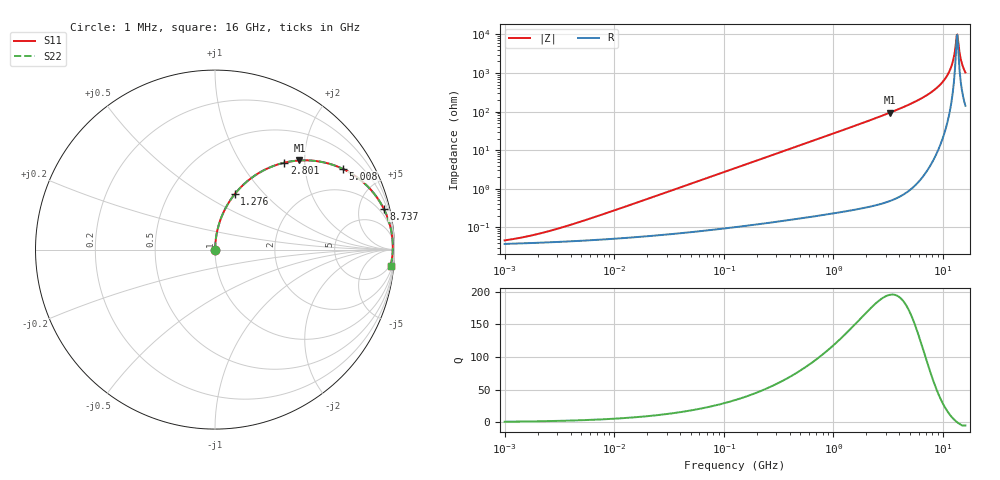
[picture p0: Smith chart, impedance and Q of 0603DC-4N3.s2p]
# MHz  S  MA  R  50
!Freq  MagS11  AngS11  MagS21  AngS21  MagS12  AngS12  MagS22  AngS22
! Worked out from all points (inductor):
!   801 points, 1 MHz to 16 GHz, reference 50 ohm
!   read as one part in series: L = 4.3 nH near 5 MHz
!   highest Q = 195 at 3.279 GHz (marker M1), where L = 4.57 nH
!   self-resonance near 13.34 GHz
!   S11 on the Smith chart (normalised r, x): 1 MHz: 1.00, +0.00; 1.276 GHz: 1.01, +0.70; 2.801 GHz: 1.01, +1.58; 5.008 GHz: 1.02, +3.14; 8.737 GHz: 1.16, +8.17; 16 GHz: 4, -20
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1  0.0004598 36.0  0.9996 -0.0  0.9996 -0.0  0.0004598 36.0
2.06685  0.0006864 54.4  0.9996 -0.0  0.9996 -0.0  0.0006864 54.4
5.060461  0.001439 71.7  0.9995 -0.1  0.9995 -0.1  0.001439 71.7
25.30026  0.00686 84.4  0.9994 -0.4  0.9994 -0.4  0.00686 84.4
128.031  0.03455 86.3  0.9984 -2.0  0.9984 -2.0  0.03455 86.3
640.1033  0.1705 79.6  0.9835 -9.8  0.9835 -9.8  0.1705 79.6
1275.832  0.3278 70.4  0.9423 -19.1  0.9423 -19.1  0.3278 70.4
1902.013  0.4633 62.1  0.8834 -27.6  0.8834 -27.6  0.4633 62.1
2801.421  0.6189 51.5  0.7822 -38.2  0.7822 -38.2  0.6189 51.5
3200.258  0.674 47.3  0.7353 -42.4  0.7353 -42.4  0.674 47.3
3278.652  0.6839 46.6  0.7261 -43.1  0.7261 -43.1  0.6839 46.6
5007.553  0.8413 32.4  0.5356 -57.3  0.5356 -57.3  0.8413 32.4
6858.979  0.9256 21.7  0.3695 -67.8  0.3695 -67.8  0.9256 21.7
8737.003  0.9669 13.7  0.2367 -75.2  0.2367 -75.2  0.9669 13.7
10225.38  0.9827 8.6  0.1501 -79.1  0.1501 -79.1  0.9827 8.6
11401.86  0.9888 5.2  0.09051 -80.3  0.09051 -80.3  0.9888 5.2
12112.99  0.9904 3.3  0.05767 -78.8  0.05767 -78.8  0.9904 3.3
13025.14  0.9908 1.0  0.01967 -61.7  0.01967 -61.7  0.9908 1.0
13344.21  0.9906 0.2  0.01035 -24.2  0.01035 -24.2  0.9906 0.2
13837.52  0.9898 -0.9  0.01845 56.1  0.01845 56.1  0.9898 -0.9
14879.53  0.987 -3.1  0.05608 75.1  0.05608 75.1  0.987 -3.1
16000  0.9825 -5.4  0.09512 76.7  0.09512 76.7  0.9825 -5.4
